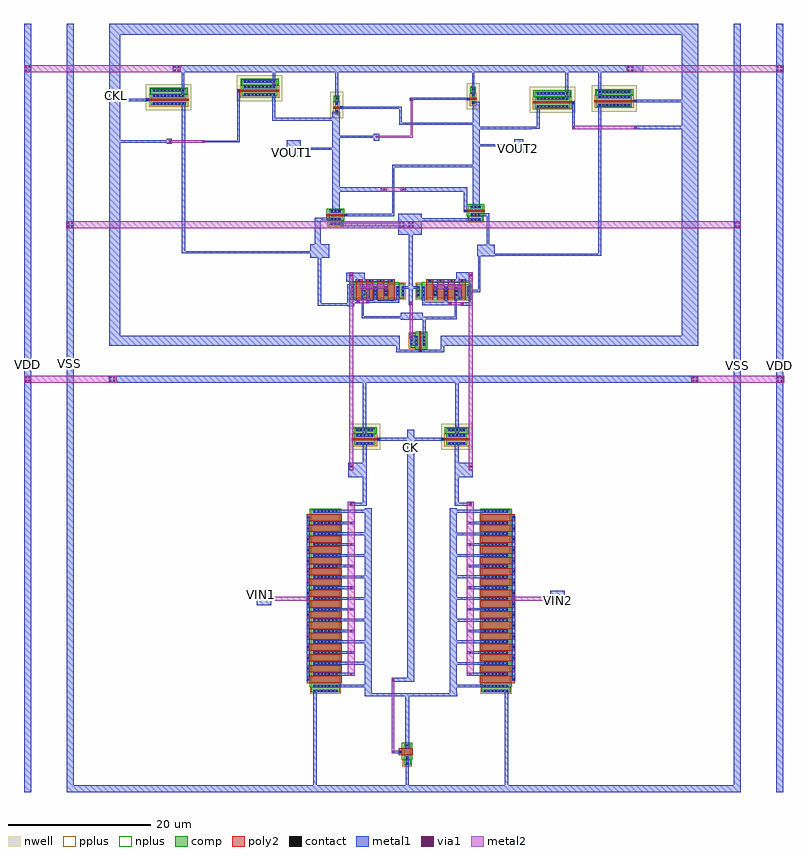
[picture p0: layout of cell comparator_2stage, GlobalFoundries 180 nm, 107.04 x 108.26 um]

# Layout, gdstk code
from math import pi, radians
import gdstk
lib = gdstk.Library(unit=1e-6, precision=5e-09)
def R(c, l, rs):  # rectangles x0, y0, x1, y1
    for r in rs: c.add(gdstk.rectangle(r[:2], r[2:], *l))
def A(c, l, x, y, w, h, nx, ny, dx, dy):  # array of equal rectangles
    R(c, l, [(x+i*dx, y+j*dy, x+i*dx+w, y+j*dy+h) for i in range(nx) for j in range(ny)])
def P(c, l, *ps):  # polygons
    for p in ps: c.add(gdstk.Polygon(p, *l))
nwell = (21, 0)
comp = (22, 0)
poly2 = (30, 0)
pplus = (31, 0)
nplus = (32, 0)
contact = (33, 0)
metal1 = (34, 0)
via1 = (35, 0)
metal2 = (36, 0)

nfet_2 = lib.new_cell('nfet$2')
R(nfet_2, comp, [(-0.42,0,0,1), (0,0,1.38,1), (1.38,0,1.8,1), (1.8,0,2.51,1)])
R(nfet_2, poly2, [(0.19,-0.3,1.19,1.3), (0.19,1.3,1.19,1.66)])
R(nfet_2, pplus, [(1.8,-0.17,2.68,1.17)])
R(nfet_2, nplus, [(-0.59,-0.24,1.8,1.24)])
R(nfet_2, contact, [(-0.32,0.39,-0.1,0.61), (1.48,0.39,1.7,0.61), (2.19,0.39,2.41,0.61), (0.58,1.37,0.8,1.59)])
R(nfet_2, metal1, [(-0.4,0.31,-0.02,0.69), (1.4,0.31,1.78,0.69), (2.11,0.31,2.49,0.69), (0.5,1.29,0.88,1.67)])

pfet_2 = lib.new_cell('pfet$2')
R(pfet_2, nwell, [(-1.15,-0.69,2.56,3.69)])
R(pfet_2, comp, [(-0.46,0,0,3), (0,0,0.68,3), (0.68,0,1.14,3), (1.14,0,1.87,3)])
R(pfet_2, poly2, [(0.19,-0.3,0.49,3.3), (0.15,3.3,0.53,3.68)])
R(pfet_2, pplus, [(-0.63,-0.24,1.14,3.24)])
R(pfet_2, nplus, [(1.14,-0.17,2.04,3.17)])
A(pfet_2, contact, -0.34, 0.37, 0.22, 0.22, 1, 5, 0, 0.51)
A(pfet_2, contact, 0.8, 0.37, 0.22, 0.22, 1, 5, 0, 0.51)
A(pfet_2, contact, 1.53, 0.37, 0.22, 0.22, 1, 5, 0, 0.51)
R(pfet_2, contact, [(0.23,3.38,0.45,3.6)])
R(pfet_2, metal1, [(-0.42,0.29,-0.04,2.71), (0.72,0.29,1.1,2.71), (1.45,0.29,1.83,2.71), (0.15,3.3,0.53,3.68)])

nfet_3 = lib.new_cell('nfet$3')
R(nfet_3, comp, [(-0.42,0,0,4), (0,0,24.18,4), (24.18,0,24.6,4), (24.6,0,25.31,4)])
A(nfet_3, poly2, 0.19, -0.3, 1, 4.6, 16, 1, 1.52, 0)
A(nfet_3, poly2, 0.19, 4.3, 1, 0.36, 16, 1, 1.52, 0)
R(nfet_3, pplus, [(24.6,-0.17,25.48,4.17)])
R(nfet_3, nplus, [(-0.59,-0.24,24.6,4.24)])
A(nfet_3, contact, -0.32, 0.36, 0.22, 0.22, 1, 7, 0, 0.51)
A(nfet_3, contact, 1.34, 0.36, 0.22, 0.22, 15, 7, 1.52, 0.51)
A(nfet_3, contact, 24.28, 0.36, 0.22, 0.22, 1, 7, 0, 0.51)
A(nfet_3, contact, 24.99, 0.36, 0.22, 0.22, 1, 7, 0, 0.51)
A(nfet_3, contact, 0.58, 4.37, 0.22, 0.22, 16, 1, 1.52, 0)
A(nfet_3, metal1, 1.26, 0.28, 0.38, 3.44, 15, 1, 1.52, 0)
A(nfet_3, metal1, 0.5, 4.29, 0.38, 0.38, 16, 1, 1.52, 0)
R(nfet_3, metal1, [(-0.4,0.28,-0.02,3.72), (24.2,0.28,24.58,3.72), (24.91,0.28,25.29,3.72)])

preamp_dyn = lib.new_cell('preamp_dyn')
R(preamp_dyn, metal1, [(-18.7,-39.38,20.91,-38.38), (-13.72,-38.38,-13.22,-24.91), (-0.72,-38.38,-0.26,-34.3), (13.25,-38.38,13.75,-24.91), (-2.67,-33.88,-1.29,-33.5), (-0.79,-33.19,-0.21,-25.88), (-6.48,-25.88,6.52,-25.39), (-6.5,-25.39,-5.5,0.61), (5.5,-25.39,6.5,0.61), (-10.28,-24.58,-6.5,-24.2), (6.5,-24.58,10.28,-24.21), (-2.67,-23.8,-0.5,-23.25), (-0.5,-23.8,0.5,11.7), (14.27,-23.69,14.69,-0.43), (-14.67,-23.68,-14.28,-0.5), (-10.28,-22.94,-7.89,-22.54), (7.89,-22.94,10.28,-22.54), (6.5,-21.4,10.28,-21.04), (-10.28,-21.39,-6.5,-21.02), (-10.28,-19.87,-7.89,-19.5), (7.89,-19.87,10.28,-19.5), (-10.28,-18.37,-6.5,-17.98), (6.5,-18.36,10.28,-17.98), (-10.28,-16.85,-7.89,-16.46), (7.89,-16.85,10.28,-16.46), (6.5,-15.32,10.28,-14.93), (-10.28,-15.31,-6.5,-14.94), (-10.28,-13.77,-7.89,-13.42), (7.89,-13.77,10.28,-13.42), (-21.68,-13.02,-19.68,-11.02), (19.68,-13.02,21.68,-11.02), (6.5,-12.28,10.28,-11.89), (-10.28,-12.26,-6.5,-11.9), (-10.28,-10.76,-7.89,-10.38), (7.89,-10.76,10.28,-10.38), (-10.28,-9.25,-6.5,-8.86), (6.5,-9.24,10.28,-8.84), (-10.28,-7.71,-7.89,-7.34), (7.89,-7.71,10.28,-7.34), (-10.28,-6.2,-6.5,-5.82), (6.5,-6.2,10.28,-5.83), (-10.28,-4.68,-7.89,-4.3), (7.89,-4.68,10.28,-4.3), (-10.28,-3.16,-6.5,-2.78), (6.5,-3.16,10.28,-2.79), (-10.28,-1.64,-7.89,-1.26), (7.89,-1.64,10.28,-1.26), (-10.28,0,-6.5,0.4), (6.5,0.02,10.28,0.4), (-8.61,0.95,-6.23,1.37), (-6.78,0.95,-6.23,9.96), (6.21,0.95,6.76,9.96), (6.21,0.95,8.59,1.37), (-8.78,5.01,-6.78,7.01), (6.76,5.01,8.76,7.01), (-4.69,10.14,-0.5,10.53), (0.5,10.15,4.69,10.55), (-6.76,10.72,-6.26,18.31), (6.24,10.72,6.74,18.31), (-19.56,18.31,20.05,19.31)])
A(preamp_dyn, via1, -8.52, -19.83, 0.26, 0.26, 1, 3, 0, 3.05)
A(preamp_dyn, via1, 8.26, -19.83, 0.26, 0.26, 1, 3, 0, 3.05)
R(preamp_dyn, via1, [(-2.61,-33.82,-2.35,-33.56), (-2.6,-23.62,-2.34,-23.36), (-8.52,-22.89,-8.26,-22.63), (8.26,-22.89,8.52,-22.63), (-20.2,-12.24,-19.94,-11.98), (-14.62,-12.24,-14.36,-11.98), (14.35,-12.24,14.61,-11.98), (19.83,-12.24,20.09,-11.98), (-8.52,-10.7,-8.26,-10.44), (8.26,-10.7,8.52,-10.44), (-8.52,-7.66,-8.26,-7.4), (8.26,-7.66,8.52,-7.4), (-8.52,-4.64,-8.26,-4.38), (8.26,-4.64,8.52,-4.38), (-8.52,-1.58,-8.26,-1.32), (-8.52,-1.58,-8.26,-1.32), (8.26,-1.58,8.52,-1.32), (8.26,-1.58,8.52,-1.32), (-8.52,1.03,-8.26,1.29), (8.22,1.03,8.48,1.29)])
R(preamp_dyn, metal2, [(-2.67,-33.9,-2.29,-23.25), (-8.89,-22.94,-7.89,1.53), (7.89,-22.94,8.89,1.53), (-20.49,-12.37,-14.29,-11.83), (14.23,-12.37,20.43,-11.83)])
preamp_dyn.add(gdstk.Reference(nfet_2, (0,-33), rotation=3*pi/2, x_reflection=True))
preamp_dyn.add(gdstk.Reference(pfet_2, (7.99,10), rotation=pi/2))
preamp_dyn.add(gdstk.Reference(nfet_3, (10,0), rotation=3*pi/2))
preamp_dyn.add(gdstk.Reference(nfet_3, (-10,0), rotation=3*pi/2, x_reflection=True))
preamp_dyn.add(gdstk.Reference(pfet_2, (-7.99,10), rotation=pi/2, x_reflection=True))
preamp_dyn.add(gdstk.Label('VSS', (-0.55,-38.97), layer=34, texttype=10))
preamp_dyn.add(gdstk.Label('DIP1', (-8.34,5.9), layer=34, texttype=10))
preamp_dyn.add(gdstk.Label('DIP2', (7.43,5.99), layer=34, texttype=10))
preamp_dyn.add(gdstk.Label('CK', (-0.02,9.1), layer=34, texttype=10))
preamp_dyn.add(gdstk.Label('VDD', (-0.22,18.71), layer=34, texttype=10))
preamp_dyn.add(gdstk.Label('VIN1', (-21.14,-12.56), layer=34, texttype=10))
preamp_dyn.add(gdstk.Label('VIN2', (20.68,-12.02), layer=34, texttype=10))

nfet = lib.new_cell('nfet')
R(nfet, comp, [(-0.42,0,0,2), (0,0,5.94,2), (5.94,0,6.36,2), (6.36,0,7.07,2)])
A(nfet, poly2, 0.19, -0.3, 1, 2.6, 4, 1, 1.52, 0)
A(nfet, poly2, 0.19, 2.3, 1, 0.36, 4, 1, 1.52, 0)
R(nfet, pplus, [(6.36,-0.17,7.24,2.17)])
R(nfet, nplus, [(-0.59,-0.24,6.36,2.24)])
A(nfet, contact, -0.32, 0.38, 0.22, 0.22, 1, 3, 0, 0.51)
A(nfet, contact, 1.34, 0.38, 0.22, 0.22, 3, 3, 1.52, 0.51)
A(nfet, contact, 6.04, 0.38, 0.22, 0.22, 1, 3, 0, 0.51)
A(nfet, contact, 6.75, 0.38, 0.22, 0.22, 1, 3, 0, 0.51)
A(nfet, contact, 0.58, 2.37, 0.22, 0.22, 4, 1, 1.52, 0)
A(nfet, metal1, 1.26, 0.3, 0.38, 1.4, 3, 1, 1.52, 0)
A(nfet, metal1, 0.5, 2.29, 0.38, 0.38, 4, 1, 1.52, 0)
R(nfet, metal1, [(-0.4,0.3,-0.02,1.7), (5.96,0.3,6.34,1.7), (6.67,0.3,7.05,1.7)])

nfet_1 = lib.new_cell('nfet$1')
R(nfet_1, comp, [(-0.42,0,0,2), (0,0,0.66,2), (0.66,0,1.08,2), (1.08,0,1.79,2)])
R(nfet_1, poly2, [(0.19,-0.3,0.47,2.3), (0.15,2.3,0.51,2.66)])
R(nfet_1, pplus, [(1.08,-0.17,1.96,2.17)])
R(nfet_1, nplus, [(-0.59,-0.24,1.08,2.24)])
A(nfet_1, contact, -0.32, 0.38, 0.22, 0.22, 1, 3, 0, 0.51)
A(nfet_1, contact, 0.76, 0.38, 0.22, 0.22, 1, 3, 0, 0.51)
A(nfet_1, contact, 1.47, 0.38, 0.22, 0.22, 1, 3, 0, 0.51)
R(nfet_1, contact, [(0.22,2.37,0.44,2.59)])
R(nfet_1, metal1, [(-0.4,0.3,-0.02,1.7), (0.68,0.3,1.06,1.7), (1.39,0.3,1.77,1.7), (0.14,2.29,0.52,2.67)])

pfet = lib.new_cell('pfet')
R(pfet, nwell, [(-1.16,-0.71,2.55,1.13)])
R(pfet, comp, [(-0.46,-0.01,0,0.43), (0.66,-0.01,1.12,0.43), (1.12,-0.01,1.85,0.43), (0,0,0.66,0.42)])
R(pfet, poly2, [(0.19,-0.3,0.47,0.72), (0.14,0.72,0.52,1.1)])
R(pfet, pplus, [(-0.63,-0.25,1.12,0.67)])
R(pfet, nplus, [(1.12,-0.17,2.02,0.59)])
R(pfet, contact, [(-0.34,0.1,-0.12,0.32), (0.78,0.1,1,0.32), (1.51,0.1,1.73,0.32), (0.22,0.8,0.44,1.02)])
R(pfet, metal1, [(-0.42,0.02,-0.04,0.4), (0.7,0.02,1.08,0.4), (1.43,0.02,1.81,0.4), (0.14,0.72,0.52,1.1)])

pfet_1 = lib.new_cell('pfet$1')
R(pfet_1, nwell, [(-1.15,-0.69,2.54,5.69)])
R(pfet_1, comp, [(-0.46,0,0,5), (0,0,0.66,5), (0.66,0,1.12,5), (1.12,0,1.85,5)])
R(pfet_1, poly2, [(0.19,-0.3,0.47,5.3), (0.14,5.3,0.52,5.68)])
R(pfet_1, pplus, [(-0.63,-0.24,1.12,5.24)])
R(pfet_1, nplus, [(1.12,-0.17,2.02,5.17)])
A(pfet_1, contact, -0.34, 0.35, 0.22, 0.22, 1, 9, 0, 0.51)
A(pfet_1, contact, 0.78, 0.35, 0.22, 0.22, 1, 9, 0, 0.51)
A(pfet_1, contact, 1.51, 0.35, 0.22, 0.22, 1, 9, 0, 0.51)
R(pfet_1, contact, [(0.22,5.38,0.44,5.6)])
R(pfet_1, metal1, [(-0.42,0.27,-0.04,4.73), (0.7,0.27,1.08,4.73), (1.43,0.27,1.81,4.73), (0.14,5.3,0.52,5.68)])

strongarm_2 = lib.new_cell('strongarm_2')
R(strongarm_2, metal1, [(-2.04,-16.8,-1.54,-15.84), (-2.04,-16.8,4.7,-16.42), (4.22,-16.42,4.7,-15.84), (-0.07,-15.83,1.02,-14.43), (1.72,-14.43,2.09,-12.1), (7.01,-10.21,8.72,-9.71), (8.33,-10.21,8.72,-8.61), (1.59,-10.17,1.98,-8.47), (1.64,-10.17,5.77,-9.65), (4.77,-10.17,5.17,-8.5), (-0.27,-10.14,0.29,0.8), (-13.08,-9.91,-12.58,-3.44), (-7.97,-9.89,-7.18,-9.4), (-6.265,-9.79,-1.635,-9.46), (-5.195,-9.79,-4.795,-8.57), (-2.015,-9.79,-1.635,-8.54), (7.95,-8.88,8.71,-7.48), (8.71,-8.3,9.79,-8), (9.49,-8,9.79,-3.25), (0.29,-7.86,0.88,-7.48), (-0.925,-7.85,-0.27,-7.46), (2.49,-6.89,7.43,-6.51), (-9.075,-6.87,-6.485,-5.6), (-7.785,-6.87,-2.535,-6.5), (6.43,-6.8,8.71,-5.53), (-14.12,-3.44,-11.51,-1.57), (9.39,-3.25,11.81,-1.66), (26.43,-3.21,26.83,18.23), (11.81,-3.2,13.46,-2.9), (13.46,-3.2,26.83,-2.9), (-32.23,-2.82,-31.75,18.41), (-31.75,-2.82,-14.12,-2.52), (10.69,-1.66,11.06,2.78), (-13.55,-1.57,-12.68,2.2), (-1.79,-0.22,1.55,2.71), (-9.88,0.96,-1.44,1.48), (0.29,1.69,8.43,2.07), (-12.68,1.81,-11.28,2.2), (-8.91,2.35,-2.61,2.73), (9.83,2.38,10.69,2.78), (7.46,3.32,7.96,5.81), (-1.41,5.81,7.96,6.49), (-9.98,5.86,-3.39,6.44), (-29.41,12.7,-29.01,13.1), (-24.46,12.78,-24.08,20.25), (-29.03,12.795,-24.08,13.025), (22.75,14.64,23.13,18.59), (31.51,14.64,38.19,15.1), (17.01,14.67,18.14,14.95), (17.72,14.67,18.14,18.03), (-19.51,15.82,-11.05,16.28), (-19.51,15.84,-19.06,19.69), (-10.63,18.05,-10.24,22.67), (31.46,18.42,38.19,18.79), (-40.93,18.59,-36.9,18.95), (-36.96,18.7,-36.9,18.9), (21.74,18.77,22.18,22.67), (0.37,18.81,7.89,19.04), (26.44,18.97,26.86,22.67), (-32.27,19.15,-31.87,22.67), (-19.47,20.43,-19.06,22.67)])
P(strongarm_2, metal1, [(-1.41,-12.22),(-1.41,-12),(-2.93,-12),(-2.93,-11.7),(-1.41,-11.7),(-1.41,-11.18),(1.72,-11.18),(1.72,-11.8),(6.19,-11.8),(6.19,-9.23),(6.17,-9.23),(6.17,-7.36),(6.19,-7.36),(6.19,-7.17),(6.49,-7.17),(6.49,-7.36),(7.21,-7.36),(7.21,-9.23),(6.49,-9.23),(6.49,-12.1),(1.72,-12.1),(1.72,-12.22)],
  [(-6.905,-12),(-6.905,-7.47),(-6.9,-7.47),(-6.9,-7.16),(-5.795,-7.16),(-5.795,-9.16),(-6.605,-9.16),(-6.605,-11.7),(-2.93,-11.7),(-2.93,-12)],
  [(-8.93,-10.31),(-8.93,-10.21),(-13.08,-10.21),(-13.08,-9.91),(-8.93,-9.91),(-8.93,-7.23),(-7.97,-7.23),(-7.97,-10.31)],
  [(-42.47,-15.84),(-42.47,29.5),(40.48,29.5),(40.48,-15.84),(4.22,-15.84),(4.22,-14.44),(38.19,-14.44),(38.19,27.97),(-40.93,27.97),(-40.93,13.05),(-34.38,13.05),(-34.38,13.26),(-33.69,13.26),(-33.69,12.58),(-34.38,12.58),(-34.38,12.75),(-40.93,12.75),(-40.93,-14.44),(-1.95,-14.44),(-1.95,-14.43),(-1.65,-14.43),(-1.65,-14.44),(-1.54,-14.44),(-1.54,-15.84)],
  [(8.62,19.49),(8.62,20.76),(8.66,20.76),(8.66,22.67),(-33.49,22.67),(-33.49,23.67),(32.77,23.67),(32.77,22.67),(8.96,22.67),(8.96,19.49)],
  [(-2.61,2.35),(-2.61,9.61),(8.55,9.61),(8.55,9.64),(8.7,9.64),(8.7,15.27),(-1.6,15.27),(-1.6,17.49),(-9.83,17.49),(-9.83,17.79),(-1.3,17.79),(-1.3,15.57),(8.7,15.57),(8.7,18.5),(9.71,18.5),(9.71,14.95),(17.01,14.95),(17.01,14.65),(9.71,14.65),(9.71,12.54),(14.55,12.54),(14.55,13.23),(15.88,13.23),(15.88,11.31),(14.55,11.31),(14.55,12.24),(9.71,12.24),(9.71,3.48),(8.7,3.48),(8.7,9.31),(-2.31,9.31),(-2.31,2.35)],
  [(-11.05,2.92),(-11.05,11.73),(-15.5,11.73),(-15.5,10.82),(-17.46,10.82),(-17.46,13.08),(-15.5,13.08),(-15.5,12.03),(-11.05,12.03),(-11.05,17.08),(-9.98,17.08),(-9.98,13.74),(-5.23,13.74),(-5.23,13.98),(-4.42,13.98),(-4.42,13),(-5.23,13),(-5.23,13.44),(-9.98,13.44),(-9.98,2.92)],
  [(-0.11,18.64),(-0.11,19.07),(0.37,19.07),(0.37,19.01),(8.11,19.01),(8.11,18.81),(0.37,18.81),(0.37,18.64)])
R(strongarm_2, via1, [(-0.01,-14.74,0.25,-14.48), (7.08,-10.09,7.34,-9.83), (5.37,-10.03,5.63,-9.77), (-0.06,-10.01,0.2,-9.75), (-7.53,-9.77,-7.27,-9.51), (-6.195,-9.76,-5.935,-9.5), (-6.645,-7.83,-6.385,-7.57), (-3.605,-7.81,-3.345,-7.55), (6.35,-7.805,6.61,-7.545), (3.31,-7.8,3.57,-7.54), (-3.85,6.01,-3.59,6.27), (-1.185,6.02,-0.925,6.28), (-34.03,12.76,-33.77,13.02), (-29.36,12.77,-29.1,13.03), (-4.88,13.46,-4.62,13.72), (22.82,14.745,23.08,15.005), (31.53,14.745,31.79,15.005), (0,18.69,0.26,18.95)])
R(strongarm_2, metal2, [(-0.17,-14.84,0.31,-9.68), (5.3,-10.17,7.45,-9.72), (-7.61,-9.9,-5.875,-9.4), (3.25,-7.91,7.2,-7.17), (-7.15,-7.84,-3.225,-7.16), (-4.19,5.81,-0.7,6.44), (-34.09,12.75,-29.03,13.05), (22.75,14.64,31.83,15.1)])
P(strongarm_2, metal2, [(-4.955,13.44),(-4.955,13.74),(-0.02,13.74),(-0.02,19.06),(0.28,19.06),(0.28,13.44)])
strongarm_2.add(gdstk.Reference(nfet, (7.93,-9.18), rotation=pi, x_reflection=True))
strongarm_2.add(gdstk.Reference(nfet_1, (-11.58,2.87), rotation=3*pi/2))
strongarm_2.add(gdstk.Reference(nfet_1, (1.7,-14.13), rotation=pi))
strongarm_2.add(gdstk.Reference(pfet, (8.99,18.58), rotation=pi/2))
strongarm_2.add(gdstk.Reference(pfet, (-10.64,17.35), rotation=pi/2, x_reflection=True))
strongarm_2.add(gdstk.Reference(pfet_1, (-31.6,18.45), rotation=pi/2))
strongarm_2.add(gdstk.Reference(pfet_1, (17.45,18.07), rotation=pi/2, x_reflection=True))
strongarm_2.add(gdstk.Reference(pfet_1, (26.16,18.27), rotation=pi/2, x_reflection=True))
strongarm_2.add(gdstk.Reference(nfet_1, (10.13,3.46), rotation=3*pi/2, x_reflection=True))
strongarm_2.add(gdstk.Reference(nfet, (-7.97,-9.16)))
strongarm_2.add(gdstk.Reference(pfet_1, (-18.79,19.73), rotation=pi/2))
strongarm_2.add(gdstk.Label('VIN1', (-7.53,-6.03), layer=34, texttype=10))
strongarm_2.add(gdstk.Label('VDD', (24.15,22.97), layer=34, texttype=10))
strongarm_2.add(gdstk.Label('VSS', (-0.82,1.26), layer=34, texttype=10))
strongarm_2.add(gdstk.Label('VOUT1', (-16.96,12.43), layer=34, texttype=10))
strongarm_2.add(gdstk.Label('VIN2', (7.24,-5.75), layer=34, texttype=10))
strongarm_2.add(gdstk.Label('VOUT2', (15.215,12.27), layer=34, texttype=10))
strongarm_2.add(gdstk.Label('CK', (-41.7,20.9), layer=34, texttype=10))

comparator_2stage = lib.new_cell('comparator_2stage')
R(comparator_2stage, metal1, [(-54.47,-61.4,-53.47,46.86), (-48.47,-61.4,-47.47,46.86), (-47.47,-61.4,-18.7,-60.39), (20.91,-61.4,45.48,-60.4), (45.48,-61.4,46.48,46.86), (51.48,-61.4,52.48,46.86), (-42.52,-3.71,-19.56,-2.71), (20.05,-3.71,40.52,-2.71)])
R(comparator_2stage, via1, [(-8.51,-15.63,-8.25,-15.37), (8.325,-15.63,8.585,-15.37), (-54.36,-3.57,-54.1,-3.31), (-53.84,-3.57,-53.58,-3.31), (-42.44,-3.57,-42.18,-3.31), (-41.92,-3.57,-41.66,-3.31), (39.64,-3.57,39.9,-3.31), (40.16,-3.57,40.42,-3.31), (51.56,-3.57,51.82,-3.31), (52.08,-3.57,52.34,-3.31), (-54.36,-3.05,-54.1,-2.79), (-53.84,-3.05,-53.58,-2.79), (-42.44,-3.05,-42.18,-2.79), (-41.92,-3.05,-41.66,-2.79), (39.64,-3.05,39.9,-2.79), (40.16,-3.05,40.42,-2.79), (51.56,-3.05,51.82,-2.79), (52.08,-3.05,52.34,-2.79), (-8.52,11.31,-8.26,11.57), (8.315,11.31,8.575,11.57), (-1.7,18.18,-1.44,18.44), (-1.18,18.18,-0.92,18.44), (-0.35,18.18,-0.09,18.44), (0.17,18.18,0.43,18.44), (45.62,18.18,45.88,18.44), (46.14,18.18,46.4,18.44), (-48.37,18.19,-48.11,18.45), (-47.85,18.19,-47.59,18.45), (-1.7,18.7,-1.44,18.96), (-1.18,18.7,-0.92,18.96), (-0.35,18.7,-0.09,18.96), (0.17,18.7,0.43,18.96), (45.62,18.7,45.88,18.96), (46.14,18.7,46.4,18.96), (-48.37,18.71,-48.11,18.97), (-47.85,18.71,-47.59,18.97), (-54.34,40.14,-54.08,40.4), (-53.82,40.14,-53.56,40.4), (-33.36,40.14,-33.1,40.4), (-32.84,40.14,-32.58,40.4), (30.54,40.14,30.8,40.4), (31.06,40.14,31.32,40.4), (51.52,40.14,51.78,40.4), (52.04,40.14,52.3,40.4), (-54.34,40.66,-54.08,40.92), (-53.82,40.66,-53.56,40.92), (-33.36,40.66,-33.1,40.92), (-32.84,40.66,-32.58,40.92), (30.54,40.66,30.8,40.92), (31.06,40.66,31.32,40.92), (51.52,40.66,51.78,40.92), (52.04,40.66,52.3,40.92)])
R(comparator_2stage, metal2, [(-8.675,-16.01,-8.125,11.83), (8.16,-16.01,8.71,11.83), (-54.47,-3.71,-41.43,-2.72), (39.53,-3.71,52.57,-2.72), (-48.53,18.04,-0.58,19.03), (-0.58,18.04,46.46,19.03), (-54.45,40,-32.37,40.99), (-54.45,40,-32.37,40.99), (30.43,40,52.51,40.99), (30.43,40,52.51,40.99)])
comparator_2stage.add(gdstk.Reference(preamp_dyn, (0,-22.02)))
comparator_2stage.add(gdstk.Reference(strongarm_2, (0,17.36)))
comparator_2stage.add(gdstk.Label('VDD', (-53.97,-1.15), layer=34, texttype=10))
comparator_2stage.add(gdstk.Label('VSS', (-48.04,-1.06), layer=34, texttype=10))
comparator_2stage.add(gdstk.Label('VSS', (46.02,-1.25), layer=34, texttype=10))
comparator_2stage.add(gdstk.Label('VDD', (51.89,-1.25), layer=34, texttype=10))
comparator_2stage.add(gdstk.Label('CKL', (-41.47,36.8), layer=34, texttype=10))
comparator_2stage.add(gdstk.Label('CK', (-0.06,-12.85), layer=34, texttype=10))
comparator_2stage.add(gdstk.Label('VIN1', (-21.06,-33.58), layer=34, texttype=10))
comparator_2stage.add(gdstk.Label('VIN2', (20.82,-34.41), layer=34, texttype=10))
comparator_2stage.add(gdstk.Label('VOUT1', (-16.59,28.78), layer=34, texttype=10))
comparator_2stage.add(gdstk.Label('VOUT2', (15.13,29.25), layer=34, texttype=10))

lib.write_gds('comparator_2stage.gds')
